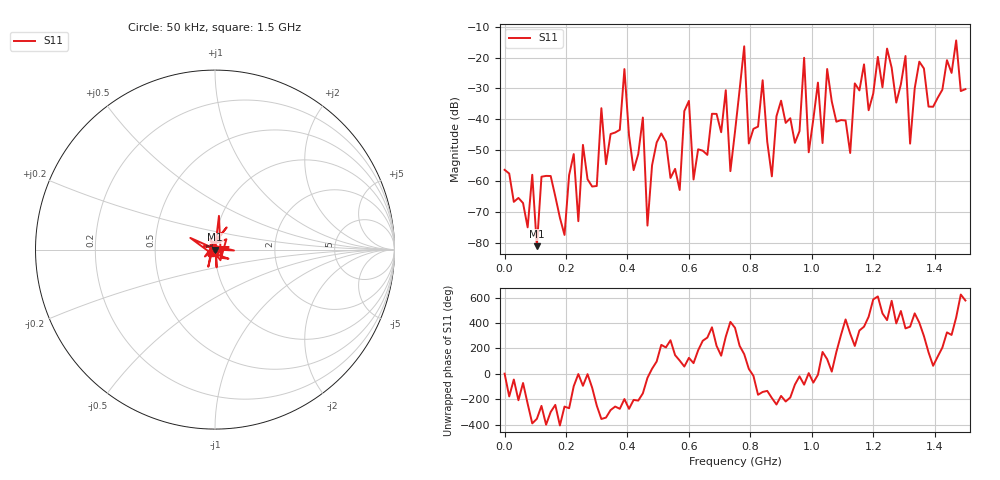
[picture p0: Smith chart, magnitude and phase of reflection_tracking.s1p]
! Created with skrf 1.8.0 (http://scikit-rf.org).
# Hz S RI R 50.0
!freq ReS11 ImS11
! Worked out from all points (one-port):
!   101 points, 50 kHz to 1.5 GHz, reference 50 ohm
!   lowest |S11| = -81.2 dB at 105 MHz (marker M1), VSWR 1.00, Z = 50 + j0.000949 ohm
!   |S11| at or under -10 dB: start of sweep to end of sweep
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50000  0.00151 4.01e-05
1.050465e8  8.68e-05 9.48e-06
1.20046e8  -0.000363 0.00111
1.950435e8  -2.96e-05 0.00013
2.250425e8  -0.000341 -0.0027
2.40042e8  0.000222 -5.95e-06
2.550415e8  -0.000266 -0.00382
3.750375e8  0.000564 0.0067
4.50035e8  -0.00953 -0.00474
4.650345e8  0.00016 -9.92e-05
5.10033e8  -0.00394 -0.00437
5.70031e8  -0.000177 0.000688
6.0003e8  -0.0116 0.016
6.150295e8  0.000108 0.00105
7.50025e8  0.00627 0.000219
7.80024e8  -0.1374 0.0652
7.950235e8  0.00313 0.00254
8.40022e8  -0.0339 -0.0262
9.450185e8  0.000401 -0.00412
9.750175e8  0.00885 -0.0987
9.90017e8  0.00289 0.00029
1.050015e9  -0.028 0.0589
1.125012e9  0.00203 -0.00198
1.245008e9  0.065 0.1237
1.305006e9  0.1057 -0.00491
1.320006e9  0.00395 0.000735
1.350005e9  0.0634 0.0576
1.5e9  -0.0247 -0.0183
